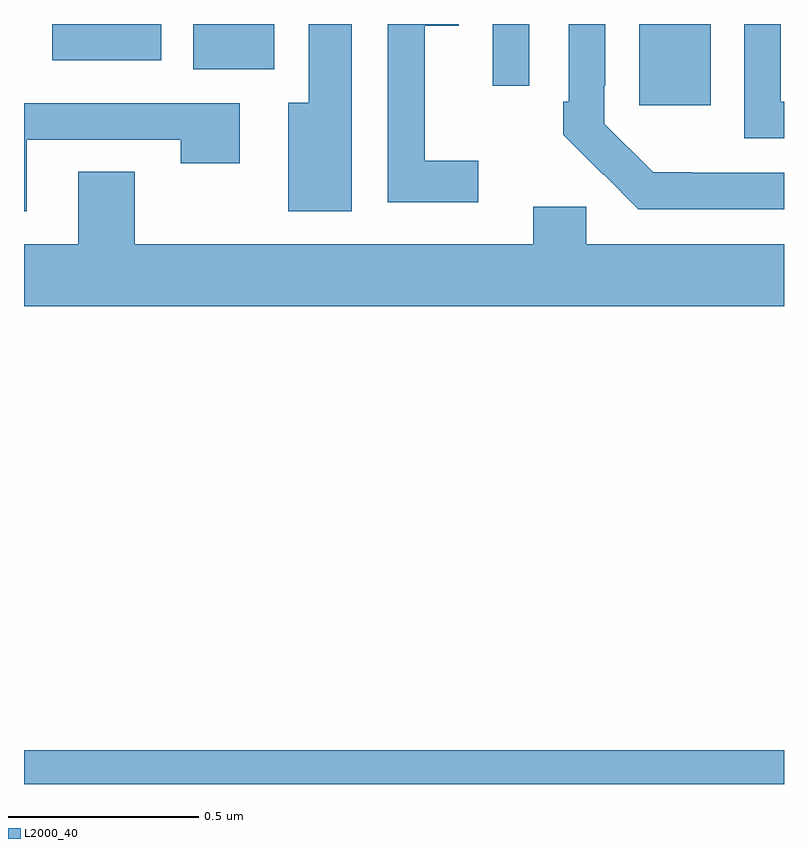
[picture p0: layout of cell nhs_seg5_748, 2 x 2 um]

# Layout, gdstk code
import gdstk
lib = gdstk.Library(unit=1e-6, precision=1e-09)
def R(c, l, rs):  # rectangles x0, y0, x1, y1
    for r in rs: c.add(gdstk.rectangle(r[:2], r[2:], *l))
def P(c, l, *ps):  # polygons
    for p in ps: c.add(gdstk.Polygon(p, *l))
L2000_40 = (2000, 40)

nhs_seg5_748 = lib.new_cell('nhs_seg5_748')
R(nhs_seg5_748, L2000_40, [(120,892.799,122,892.888), (121.619,894.585,121.807,894.799), (121.233,894.636,121.329,894.799), (120.446,894.68,120.658,894.799), (120.074,894.704,120.361,894.799)])
P(nhs_seg5_748, L2000_40, [(122,894.408),(121.759,894.408),(121.759,894.409),(121.656,894.409),(121.527,894.537),(121.527,894.637),(121.53,894.637),(121.53,894.799),(121.434,894.799),(121.434,894.595),(121.419,894.595),(121.419,894.507),(121.524,894.402),(121.525,894.403),(121.616,894.312),(122,894.312)],
  [(122,894.594),(121.992,894.594),(121.992,894.799),(121.896,894.799),(121.896,894.498),(122,894.498)],
  [(120.862,894.799),(120.749,894.799),(120.749,894.592),(120.695,894.592),(120.695,894.306),(120.862,894.306)],
  [(121.195,894.439),(121.055,894.439),(121.055,894.794),(121.144,894.794),(121.144,894.799),(120.957,894.799),(120.957,894.33),(121.195,894.33)],
  [(120.007,894.495),(120.412,894.495),(120.412,894.432),(120.568,894.432),(120.568,894.591),(120,894.591),(120,894.306),(120.007,894.306)],
  [(122,894.22),(121.479,894.22),(121.479,894.318),(121.34,894.318),(121.34,894.22),(120.291,894.22),(120.291,894.41),(120.143,894.41),(120.143,894.22),(120,894.22),(120,894.056),(122,894.056)])

lib.write_gds('nhs_seg5_748.gds')
